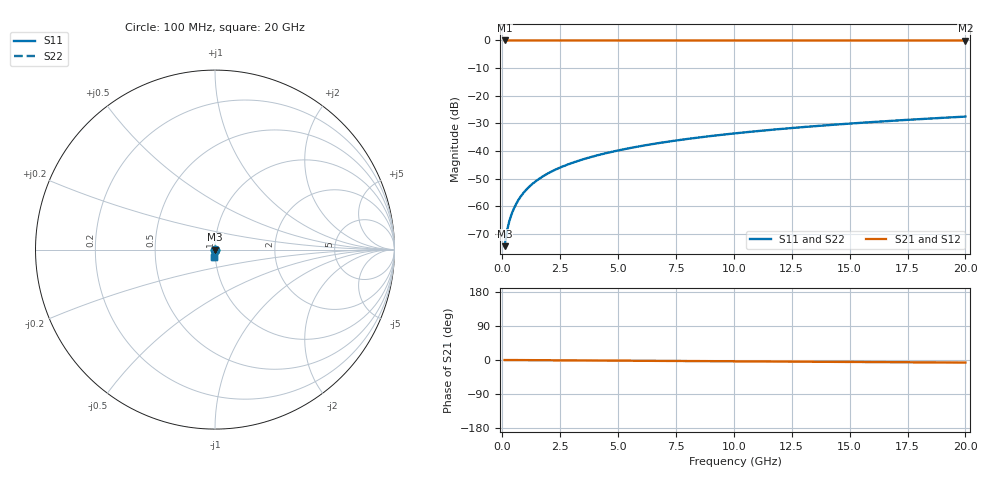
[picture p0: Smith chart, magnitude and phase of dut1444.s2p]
! Touchstone file exported from HFSS 2026.1.0
!  File:  C:/ffzhzh/LocalFiles/Ansys_Project_Files/temp_train_TSV_1444_1783197734_43440.aedt
!  Generated:  04:43:44 AM Jul  5, 2026
!  Design:  TSV
!  Project:  temp_train_TSV_1444_1783197734_43440
! Variables:
!  h_bsmrdl = 2um
!  h_ox = 20um
!  h_rdl = 5um
!  h_sub = 65.17um
!  h_tmrdl = 5um
!  h_tsv = 65.17um
!  h_via = 3um
!  l_bsmrdl = 300um
!  l_sub = 424.48um
!  l_tmrdl = 200um
!  m_sub = 200um
!  pitch = 35.77um
!  r_tsv = 12.24um
!  s_tmrdl = 10um
!  w_bsmrdl = 18um
!  w_sub = 500um
!  w_tmrdl = 12um
!  x_tsv_center1 = 206um
!  x_tsv_center2 = 524um
!  x_tsv_center3 = 736um
!  x_tsv_center4 = 1054um
!  x_tsv_center5 = 1266um
!  x_tsv_center6 = 1584um
# GHz S MA R 50.000000
! Terminal data exported
! Port[1] = TSV1_1_T1
! Port[2] = TSV1_1_T2
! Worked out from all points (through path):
!   200 points, 100 MHz to 20 GHz, reference 50 ohm
!   highest |S21| = 0.00 dB at 100 MHz (marker M1); lowest = 0.0 dB at 20 GHz (marker M2)
!   lowest |S11| = -74.3 dB at 100 MHz (marker M3), VSWR 1.00, Z = 50 - j0.017 ohm
!   |S11| at or under -10 dB: start of sweep to end of sweep
!   |S22| runs from -74.3 to -27.5 dB; largest |S21 - S12| = 7.3e-15
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0.1  0.0001917 -62.8  0.9999 -0.0  0.9999 -0.0  0.0001917 -62.8
! Gamma 0 0 0 0
! Port Impedance 50 0 50 0
0.2  0.0003587 -73.7  0.9999 -0.1  0.9999 -0.1  0.0003587 -73.7
0.3  0.0005374 -77.2  0.9999 -0.1  0.9999 -0.1  0.0005374 -77.2
0.4  0.0007242 -78.9  0.9999 -0.1  0.9999 -0.1  0.0007242 -78.9
0.5  0.0009175 -79.8  0.9998 -0.2  0.9998 -0.2  0.0009175 -79.8
0.7  0.001318 -81.2  0.9998 -0.2  0.9998 -0.2  0.001318 -81.2
0.8  0.001522 -81.8  0.9998 -0.3  0.9998 -0.3  0.001522 -81.8
1  0.001935 -82.8  0.9997 -0.4  0.9997 -0.4  0.001935 -82.8
1.2  0.002351 -83.6  0.9997 -0.4  0.9997 -0.4  0.002351 -83.6
1.4  0.002767 -84.3  0.9997 -0.5  0.9997 -0.5  0.002767 -84.3
1.7  0.003391 -85.1  0.9997 -0.6  0.9997 -0.6  0.003391 -85.1
2  0.004015 -85.8  0.9996 -0.7  0.9996 -0.7  0.004015 -85.8
2.7  0.005471 -86.9  0.9996 -0.9  0.9996 -0.9  0.005471 -86.9
3.5  0.007139 -87.7  0.9995 -1.2  0.9995 -1.2  0.007139 -87.7
4.2  0.008603 -88.2  0.9995 -1.4  0.9995 -1.4  0.008603 -88.2
5  0.01028 -88.8  0.9994 -1.7  0.9994 -1.7  0.01028 -88.8
6.8  0.01408 -89.8  0.9993 -2.3  0.9993 -2.3  0.01408 -89.8
8.3  0.01725 -90.6  0.9992 -2.8  0.9992 -2.8  0.01725 -90.6
10.1  0.02107 -91.4  0.999 -3.5  0.999 -3.5  0.02107 -91.4
13.4  0.02807 -92.8  0.9987 -4.6  0.9987 -4.6  0.02807 -92.8
16.7  0.03507 -94.1  0.9984 -5.7  0.9984 -5.7  0.03507 -94.1
20  0.04207 -95.3  0.998 -6.8  0.998 -6.8  0.04207 -95.3
